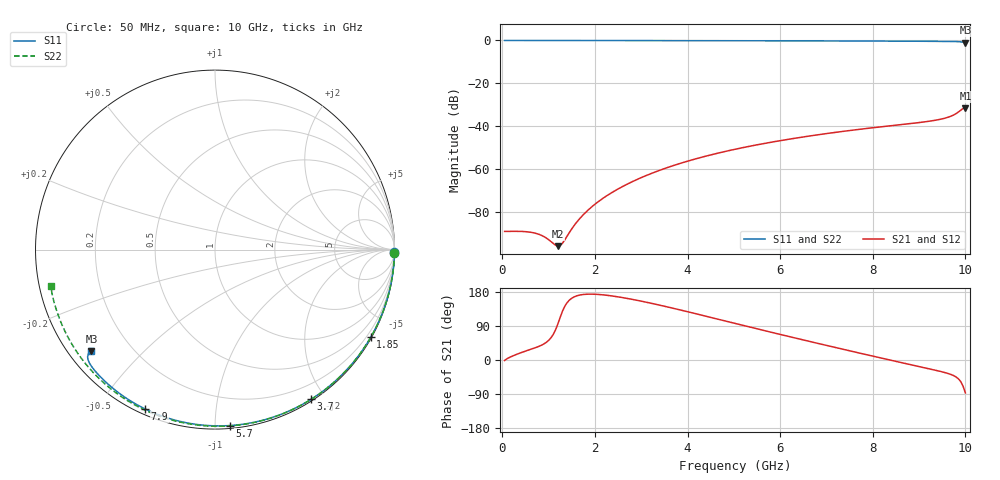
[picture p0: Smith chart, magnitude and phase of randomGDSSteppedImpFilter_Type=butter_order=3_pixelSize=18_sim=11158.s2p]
! freq	dB(S11)	phase(S11)	dB(S12)	phase(S12)
!  dB(S21)	phase(S21)	dB(S22)	phase(S22)
!S-par simulation data
#  GHz  S  DB  R 50
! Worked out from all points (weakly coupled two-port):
!   200 points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, 50 MHz to 10 GHz, reference 50 ohm
!   highest |S21| = -31.63 dB at 10 GHz (marker M1); lowest = -96.0 dB at 1.2 GHz (marker M2)
!   lowest |S11| = -1.0 dB at 10 GHz (marker M3), VSWR 17.49, Z = 3.23 - j17.9 ohm
!   |S11| at or under -10 dB: nowhere
!   |S22| runs from -0.6 to 0.0 dB; largest |S21 - S12| = 0
!   S11 on the Smith chart (normalised r, x): 50 MHz: open; 1.85 GHz: 0.03, -3.82; 3.7 GHz: 0.02, -1.83; 5.7 GHz: 0.02, -1.09; 7.9 GHz: 0.02, -0.65; 10 GHz: 0.06, -0.36
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0.05  -0.00 -0.8  -89.12 -1.2  -89.12 -1.2  -0.00 -1.0
0.6  -0.01 -9.6  -89.45 27.6  -89.45 27.6  -0.01 -11.6
1.2  -0.02 -19.2  -95.99 95.1  -95.99 95.1  -0.03 -23.0
1.75  -0.04 -27.8  -81.30 172.9  -81.30 172.9  -0.04 -33.3
1.8  -0.04 -28.6  -80.22 173.5  -80.22 173.5  -0.04 -34.3
1.85  -0.04 -29.4  -79.20 173.8  -79.20 173.8  -0.04 -35.2
2.15  -0.04 -34.0  -74.01 172.2  -74.01 172.2  -0.05 -40.7
2.5  -0.05 -39.4  -69.30 166.6  -69.30 166.6  -0.06 -47.1
2.9  -0.06 -45.4  -64.96 157.8  -64.96 157.8  -0.07 -54.3
3.4  -0.07 -52.9  -60.57 144.7  -60.57 144.7  -0.08 -63.1
3.7  -0.08 -57.3  -58.34 136.2  -58.34 136.2  -0.09 -68.3
4.35  -0.09 -66.6  -54.23 117.0  -54.23 117.0  -0.11 -79.2
5.05  -0.12 -76.4  -50.66 95.8  -50.66 95.8  -0.14 -90.7
5.7  -0.14 -85.3  -47.90 76.4  -47.90 76.4  -0.17 -101.0
6.7  -0.19 -98.4  -44.37 47.1  -44.37 47.1  -0.23 -116.4
7.9  -0.27 -113.7  -40.98 13.0  -40.98 13.0  -0.32 -134.5
8.35  -0.31 -119.3  -39.89 0.5  -39.89 0.5  -0.36 -141.3
9.1  -0.38 -128.6  -38.05 -20.0  -38.05 -20.0  -0.44 -152.8
9.5  -0.43 -133.7  -36.59 -31.3  -36.59 -31.3  -0.49 -159.1
9.7  -0.47 -136.5  -35.24 -38.8  -35.24 -38.8  -0.51 -162.3
9.95  -0.80 -140.6  -31.73 -69.0  -31.73 -69.0  -0.57 -166.6
10  -0.99 -140.5  -31.63 -86.9  -31.63 -86.9  -0.60 -167.5
